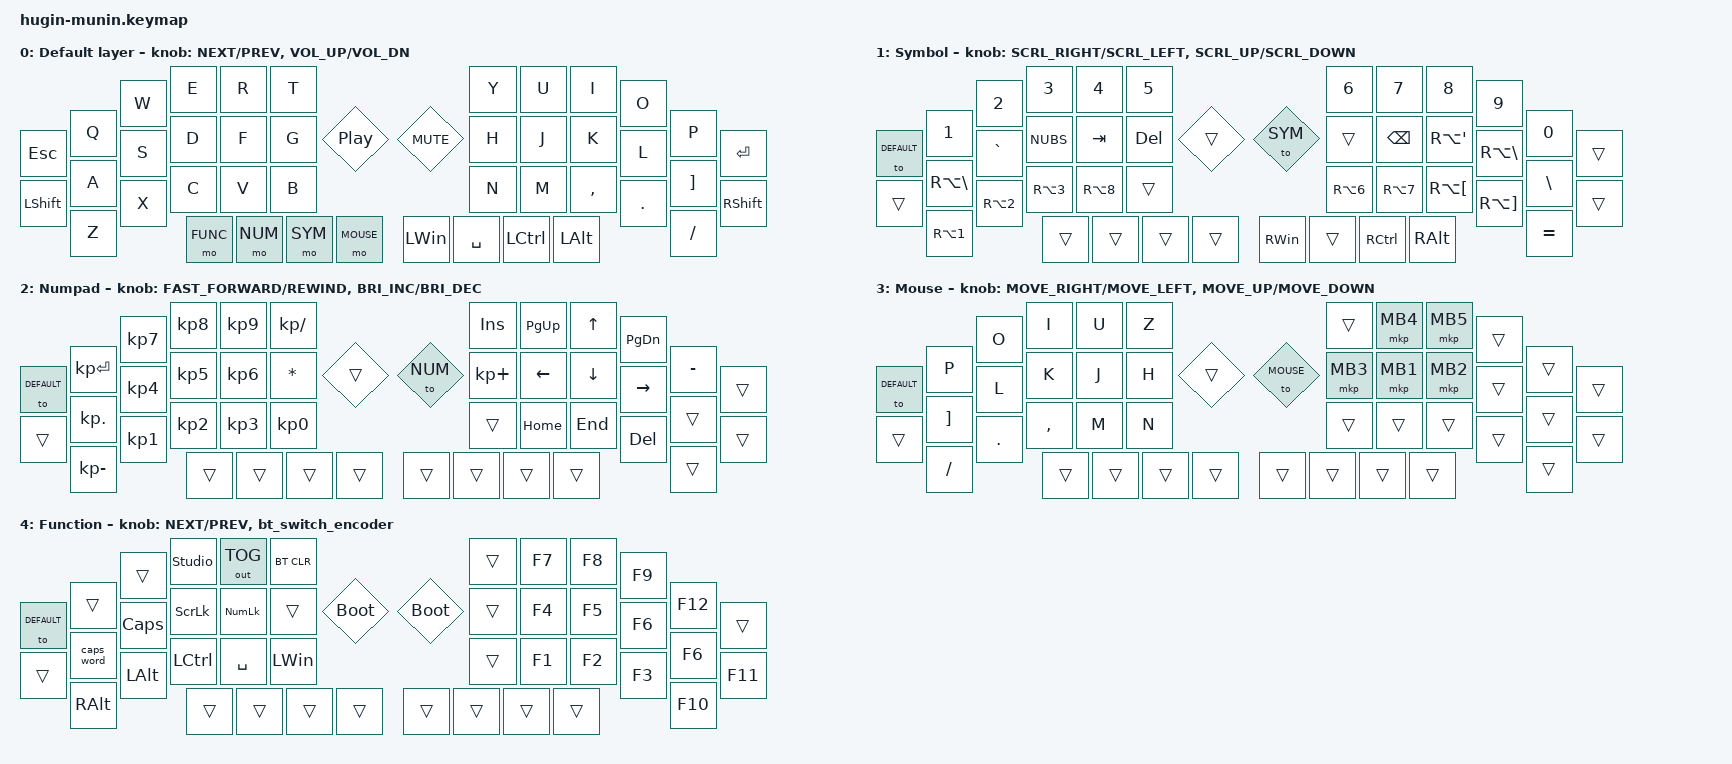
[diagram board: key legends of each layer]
#include <behaviors.dtsi>
#include <dt-bindings/zmk/keys.h>
#include <dt-bindings/zmk/bt.h>

// higher values than default, to make mouse movements work on encoders
#define ZMK_POINTING_DEFAULT_MOVE_VAL 1500  // default: 600
#define ZMK_POINTING_DEFAULT_SCRL_VAL 75    // default: 10

#include <dt-bindings/zmk/pointing.h>
#include <dt-bindings/zmk/outputs.h>

#define DEFAULT     0
#define SYM      1
#define NUM      2
#define MOUSE       3
#define FUNC    4

/ {
    behaviors {
        mouse_msc_encoder: mouse_scroll_encoder {
            compatible = "zmk,behavior-sensor-rotate-var";
            #sensor-binding-cells = <2>;
            bindings = <&msc>, <&msc>;
        };
        mouse_mmv_encoder: mouse_move_encoder {
            compatible = "zmk,behavior-sensor-rotate-var";
            #sensor-binding-cells = <2>;
            bindings = <&mmv>, <&mmv>;
        };
        bt_switch_encoder: bt_switch_encoder {
            compatible = "zmk,behavior-sensor-rotate";
            #sensor-binding-cells = <0>;
            bindings = <&bt BT_NXT>, <&bt BT_PRV>;
        };
    };
    keymap {
        compatible = "zmk,keymap";
        default_layer {
            display-name = "Default layer";
            // template taken from in-tree Kiria board. TODO: adjust
            // Note: layout designed for swiss-german language setting (therefore Y and Z are switched in the "what are the keys" image
            // but not in the keymap, since the software needs to send 'y' for the computer to understand 'z').
// ger      engl
// ,        COMMA
// .        DOT
// -        FSLSH (/)
//

// ---------------------------------------------------------------------------------------------------------------------------------
// |  ESC  |  Q  |  W  |  E   |  R   |  T   |                               |  Z   |  U    |  I    |  O   |   P   | Enter |
// | SHIFT |  A  |  S  |  D   |  F   |  G   |                               |  H   |  J    |  K    |  L   |   ¨   |R-SHIFT|
//         |  Y  |  X  |  C   |  V   |  B   |  |PlayPause|       |MuteSpe|  |  N   |  M    |  ,    |  .   |   -   |
//                        |FuncL| NumL  | SymL | MouseL |        |  Win  | SPACE  | Ctrl  | ALT |
            bindings = <
    &kp ESC   &kp Q &kp W &kp E &kp R &kp T                                      &kp Y &kp U  &kp I     &kp O   &kp P    &kp ENTER
    &kp LSHFT &kp A &kp S &kp D &kp F &kp G                                      &kp H &kp J  &kp K     &kp L   &kp RBKT &kp RSHFT
              &kp Z &kp X &kp C &kp V &kp B                                      &kp N &kp M  &kp COMMA &kp DOT &kp FSLH
            &mo FUNC &mo NUM &mo SYM &mo MOUSE &kp C_PLAY_PAUSE      &kp C_MUTE &kp LWIN  &kp SPACE  &kp LCTRL &kp LALT
            >;

            sensor-bindings = <&inc_dec_kp C_NEXT C_PREV>, <&inc_dec_kp C_VOL_UP C_VOL_DN>;
        };

        symbol_layer {
            display-name = "Symbol";
// ger      engl
// \        ralt(BSLH)
// §        ~ (grave)
            // ---------------------------------------------------------------------------------------------------------------------------------
// |Default|  1  |  2  |  3   |  4   |  5   |                               |  6   |  7    |  8    |  9   |   0   |       |
// |       |  \  |  §  |  <   |  tab | del  |                               |      |  bspc |  {    |  }   |   $   |       |
//         |  ¦  |  @  |  #   |  ¢   |      |  |       |       |to Symbol|  |  ¬   |  |    |  [    |  ]   |   ^   |
//                        |     |       | ---- |        |        | RWin  |        |RCtrl  |RALT |
            bindings = <
    &to DEFAULT &kp N1       &kp N2    &kp N3    &kp N4 &kp N5                       &kp N6      &kp N7    &kp N8       &kp N9         &kp N0  &trans
    &trans &kp RA(BSLH) &kp GRAVE &kp NUBS  &kp TAB  &kp DEL                         &trans      &kp BSPC  &kp RA(SQT)  &kp RA(BSLH)   &kp BSLH &trans
           &kp RA(N1)   &kp RA(N2) &kp RA(N3) &kp RA(N8) &trans                      &kp RA(N6)  &kp RA(N7) &kp RA(LBKT)  &kp RA(RBKT) &kp EQUAL
                     &trans &trans &trans &trans      &trans             &to SYM     &kp RWIN  &trans  &kp RCTRL &kp RALT
            >;

            sensor-bindings = <&mouse_msc_encoder SCRL_RIGHT SCRL_LEFT>, <&mouse_msc_encoder SCRL_UP SCRL_DOWN>;
        };

        number_layer {
            display-name = "Numpad";
            // ---------------------------------------------------------------------------------------------------------------------------------
// |Default|kpEntr|kp 7 |kp 8  |kp 9  |kp / |                               | Ins  | Pg Up | up    | pg dn|   '   |       |
// |       |kp . |kp 4 |kp 5  |kp 6  |kp *  |                               | kp + | left  | down  | right|       |       |
//         |kp - |kp 1 |kp 2  |kp 3  |kp 0  |  |       |       |to Num   |  |      | Home  | End   | del  |       |
//                        |     | ----- |      |        |        |       |        |       |     |
            bindings = <
    &to DEFAULT &kp KP_ENTER   &kp KP_N7 &kp KP_N8  &kp KP_N9 &kp KP_SLASH                     &kp INS &kp PG_UP    &kp UP   &kp PG_DN &kp MINUS  &trans
    &trans &kp KP_DOT     &kp KP_N4 &kp KP_N5  &kp KP_N6  &kp ASTERISK                         &kp KP_PLUS &kp LEFT &kp DOWN &kp RIGHT &trans     &trans
           &kp KP_MINUS   &kp KP_N1 &kp KP_N2 &kp KP_N3  &kp KP_N0                             &trans      &kp HOME &kp END  &kp DEL   &trans
                     &trans &trans &trans &trans         &trans                   &to NUM      &trans  &trans  &trans &trans
            >;

            sensor-bindings = <&inc_dec_kp C_FAST_FORWARD C_REWIND>, <&inc_dec_kp C_BRIGHTNESS_INC C_BRIGHTNESS_DEC>;
        };

        mouse_layer {
            display-name = "Mouse";
            // ---------------------------------------------------------------------------------------------------------------------------------
// |Default| P   |  O  |  I   |   U  |  Z  |                               |      |  M4   |  M5   |      |       |       |
// |       |  ¨  |  L  |  k   |   J  |  H   |                               |  M3  |  M1   |   M2  |      |       |       |
//         |  -  |  .  |  ,   |   M  |  N   |  |       |       |to MOUSE |  |      |       |       |      |       |
//                        |     |       |      | ----- |        |       |        |       |     |
            bindings = <
    &to DEFAULT &kp P   &kp O &kp I  &kp U &kp Z                          &trans &mkp MB4 &mkp MB5   &trans &trans  &trans
    &trans &kp RBKT     &kp L &kp K  &kp J  &kp H                         &mkp MB3 &mkp MB1 &mkp MB2 &trans &trans  &trans
           &kp FSLH   &kp DOT &kp COMMA &kp M  &kp N                      &trans &trans &trans  &trans   &trans
                     &trans &trans &trans &trans     &trans           &to MOUSE       &trans  &trans  &trans &trans
            >;

            sensor-bindings = <&mouse_mmv_encoder MOVE_RIGHT MOVE_LEFT>, <&mouse_mmv_encoder MOVE_UP MOVE_DOWN>;
        };
        function_layer {
            display-name = "Function";
            // ---------------------------------------------------------------------------------------------------------------------------------
// |Default|     |     | ZMK  |usbBt |rm Bt|                               |      |  F7   |  F8   | F9   |  F12  |       |
// |       |WordC|Caps |scrLoc|NumLoc|      |                               |      |  F4   |  F5   |  F6  |  F11  |       |
//         |AltGr| Alt | Ctrl | Space| Win  |  |       |       |to Func  |  |      | F1    |  F2   |  F3  |  F10  |
//                        |     |       |      | ----- |        |       |        |       |     |
            bindings = <
    &to DEFAULT &trans   &trans &studio_unlock  &out OUT_TOG &bt BT_CLR                  &trans &kp F7 &kp F8 &kp F9 &kp F12  &trans
    &trans &caps_word    &kp CAPS &kp SLCK  &kp KP_NLCK  &trans                         &trans &kp F4 &kp F5 &kp F6 &kp F6  &kp F11
           &kp RALT   &kp LALT &kp LCTRL &kp SPACE  &kp LWIN                             &trans &kp F1 &kp F2  &kp F3   &kp F10
                     &trans &trans &trans &trans        &bootloader                 &bootloader &trans  &trans  &trans &trans
            >;

            sensor-bindings = <&inc_dec_kp C_NEXT C_PREV>, <&bt_switch_encoder>;
        };


    };
};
